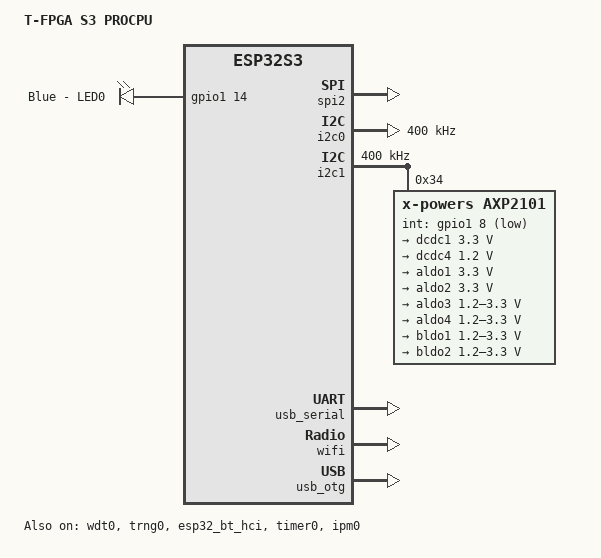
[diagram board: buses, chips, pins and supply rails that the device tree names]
/*
 * Copyright (c) 2026 Sahaj Sarup
 *
 * SPDX-License-Identifier: Apache-2.0
 */
/dts-v1/;

#include <espressif/esp32s3/esp32s3_r8.dtsi>
#include "tfpga_s3-pinctrl.dtsi"
#include <espressif/partitions_0x0_amp_16M.dtsi>

/ {
	model = "T-FPGA S3 PROCPU";
	compatible = "espressif,esp32s3";

	aliases {
		led0 = &blue_led;
		i2c-0 = &i2c0;
		i2c-1 = &i2c1;
		watchdog0 = &wdt0;
		fuel-gauge0 = &fuel_gauge;
		regulator0 = &axp2101;
	};

	chosen {
		zephyr,sram = &sram0;
		zephyr,console = &usb_serial;
		zephyr,shell-uart = &usb_serial;
		zephyr,flash = &flash0;
		zephyr,code-partition = &slot0_partition;
		zephyr,bt-hci = &esp32_bt_hci;
		zephyr,ipc_shm = &shm0;
		zephyr,ipc = &ipm0;
	};

	leds {
		compatible = "gpio-leds";

		blue_led: led_0 {
			gpios = <&gpio1 14 GPIO_ACTIVE_HIGH>;
			label = "Blue - LED0";
		};
	};
};

&spi2 {
	#address-cells = <1>;
	#size-cells = <0>;
	status = "okay";
	pinctrl-0 = <&spim2_default>;
	pinctrl-names = "default";
};

&i2c0 {
	clock-frequency = <I2C_BITRATE_FAST>;
	pinctrl-0 = <&i2c0_default>;
	pinctrl-names = "default";
	status = "okay";
};

&i2c1 {
	clock-frequency = <I2C_BITRATE_FAST>;
	pinctrl-0 = <&i2c1_default>;
	pinctrl-names = "default";
	status = "okay";

	axp2101: axp2101@34 {
		compatible = "x-powers,axp2101";
		reg = <0x34>;
		int-gpios = <&gpio1 8 (GPIO_ACTIVE_LOW | GPIO_PULL_UP)>;
		status = "okay";

		regulators {
			compatible = "x-powers,axp2101-regulator";
			status = "okay";

			/* 3v3 Board VDD */
			dcdc1 {
				regulator-min-microvolt = <3300000>;
				regulator-init-microvolt = <3300000>;
				regulator-max-microvolt = <3300000>;
				regulator-boot-on;
				regulator-always-on;
				status = "okay";
			};

			dcdc2 {
				regulator-boot-off;
			};

			dcdc3 {
				regulator-boot-off;
			};

			/* 1v2 FPGA VCore */
			dcdc4 {
				regulator-min-microvolt = <1200000>;
				regulator-init-microvolt = <1200000>;
				regulator-max-microvolt = <1200000>;
				regulator-boot-on;
				status = "okay";
			};

			dcdc5 {
				regulator-boot-off;
			};

			/* JTAG IO Bank fixed at 3v3 */
			aldo1 {
				regulator-min-microvolt = <3300000>;
				regulator-init-microvolt = <3300000>;
				regulator-max-microvolt = <3300000>;
				regulator-boot-on;
				status = "okay";
			};

			/* ESP32 <-> FPGA IO Bank 1 fixed at 3v3 */
			aldo2 {
				regulator-min-microvolt = <3300000>;
				regulator-init-microvolt = <3300000>;
				regulator-max-microvolt = <3300000>;
				regulator-boot-on;
				status = "okay";
			};

			/* FPGA IO BANK 2*/
			aldo3 {
				regulator-min-microvolt = <1200000>;
				regulator-max-microvolt = <3300000>;
				regulator-boot-off;
				status = "okay";
			};

			/* FPGA IO BANK 3*/
			aldo4 {
				regulator-min-microvolt = <1200000>;
				regulator-max-microvolt = <3300000>;
				regulator-boot-off;
				status = "okay";
			};

			/*VCC for PMOD P6 and P8 on the Carrier Board*/
			bldo1 {
				regulator-min-microvolt = <1200000>;
				regulator-max-microvolt = <3300000>;
				regulator-boot-off;
				status = "okay";
			};

			/*VCC for PMOD P3 and P5 on the Carrier Board*/
			bldo2 {
				regulator-min-microvolt = <1200000>;
				regulator-max-microvolt = <3300000>;
				regulator-boot-off;
				status = "okay";
			};

			cplusldo {
				regulator-boot-off;
			};

			dldo1 {
				regulator-boot-off;
			};

			dldo2 {
				regulator-boot-off;
			};
		};

		charger: charger {
			compatible = "x-powers,axp2101-charger";
			constant-charge-current-max-microamp = <300000>;
			constant-charge-voltage-max-microvolt = <4200000>;
			charge-term-current-microamp = <100000>;
			device-chemistry = "lithium-ion";
			vbackup-enable;
			ts-disable;
			status = "okay";
		};

		fuel_gauge: fuel_gauge {
			compatible = "x-powers,axp2101-fuel-gauge";
		};
	};
};

&usb_serial {
	status = "okay";
};

&wdt0 {
	status = "okay";
};

&trng0 {
	status = "okay";
};

&gpio0 {
	status = "okay";
};

&gpio1 {
	status = "okay";
};

&esp32_bt_hci {
	status = "okay";
};

&flash0 {
	reg = <0x0 DT_SIZE_M(16)>;
	ranges = <0x0 0x0 DT_SIZE_M(16)>;
};

&timer0 {
	status = "okay";
};

&ipm0 {
	status = "okay";
};

&wifi {
	status = "okay";
};

zephyr_udc0: &usb_otg {
	status = "okay";
};
